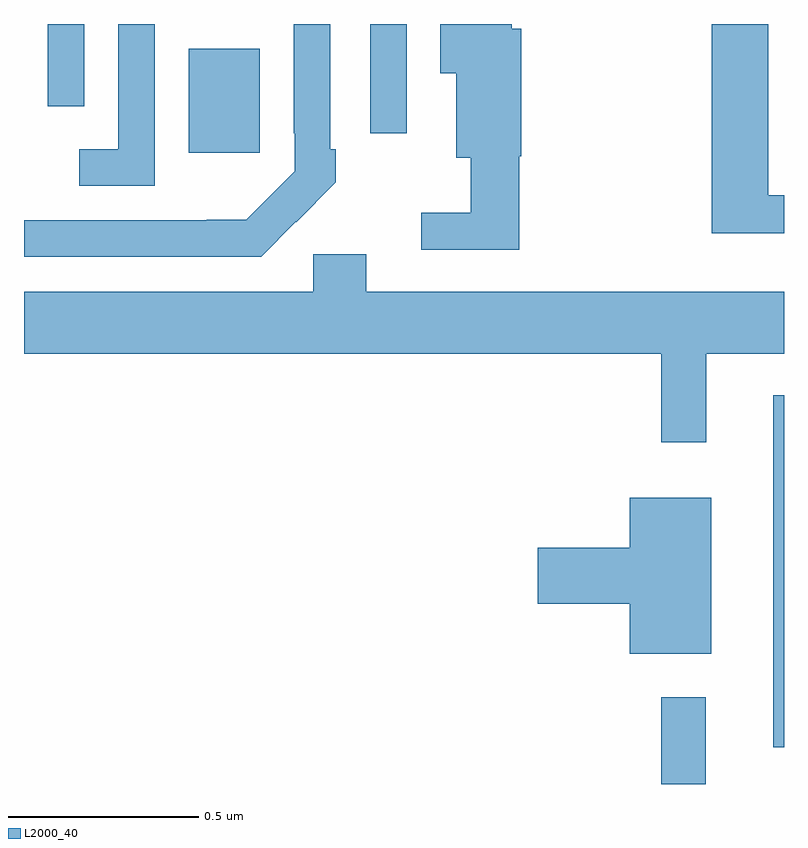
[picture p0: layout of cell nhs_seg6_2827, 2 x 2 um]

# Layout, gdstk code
import gdstk
lib = gdstk.Library(unit=1e-6, precision=1e-09)
def R(c, l, rs):  # rectangles x0, y0, x1, y1
    for r in rs: c.add(gdstk.rectangle(r[:2], r[2:], *l))
def P(c, l, *ps):  # polygons
    for p in ps: c.add(gdstk.Polygon(p, *l))
L2000_40 = (2000, 40)

nhs_seg6_2827 = lib.new_cell('nhs_seg6_2827')
R(nhs_seg6_2827, L2000_40, [(149.677,983.5,149.794,983.728), (149.972,983.597,150,984.523), (148.433,985.161,148.621,985.435), (148.911,985.212,149.007,985.5), (148.062,985.284,148.158,985.5)])
P(nhs_seg6_2827, L2000_40, [(148.344,985.5),(148.248,985.5),(148.248,985.17),(148.146,985.17),(148.146,985.074),(148.344,985.074)],
  [(150,985.049),(149.959,985.049),(149.959,985.5),(149.81,985.5),(149.81,984.95),(150,984.95)],
  [(148.715,984.979),(148.716,984.978),(148.821,985.083),(148.821,985.171),(148.806,985.171),(148.806,985.5),(148.71,985.5),(148.71,985.213),(148.713,985.213),(148.713,985.113),(148.585,984.985),(148.481,984.985),(148.481,984.984),(148,984.984),(148,984.888),(148.624,984.888)],
  [(149.303,985.152),(149.309,985.152),(149.309,985.488),(149.284,985.488),(149.284,985.5),(149.096,985.5),(149.096,985.37),(149.138,985.37),(149.138,985.148),(149.175,985.148),(149.175,985.003),(149.046,985.003),(149.046,984.906),(149.303,984.906)],
  [(149.795,984.632),(150,984.632),(150,984.796),(148.9,984.796),(148.9,984.894),(148.761,984.894),(148.761,984.796),(148,984.796),(148,984.632),(149.677,984.632),(149.677,984.399),(149.795,984.399)],
  [(149.809,984.253),(149.594,984.253),(149.594,984.122),(149.352,984.122),(149.352,983.975),(149.594,983.975),(149.594,983.843),(149.809,983.843)])

lib.write_gds('nhs_seg6_2827.gds')
